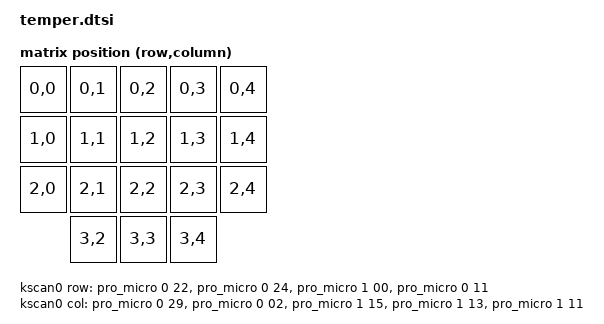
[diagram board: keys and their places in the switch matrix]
/*
 * Custom Split Keyboard (based on Temper)
 * Board: nRF52840 SuperMini (AliExpress, compatible with Nice!Nano v2)
 *
 * SPDX-License-Identifier: MIT
 */

#include <dt-bindings/zmk/matrix_transform.h>

/ {
    chosen {
        zephyr,display = &oled;
        zmk,kscan = &kscan0;
        zmk,matrix_transform = &default_transform;
    };

    // ─────────────────────────────
    // Matrix Transform
    // ─────────────────────────────
    default_transform: keymap_transform_0 {
        compatible = "zmk,matrix-transform";
        rows = <4>;
        columns = <5>;

        // Map layout: row0-3, col0-4
        // Passe die Reihenfolge hier an dein Layout an (z. B. für Split-Left oder Split-Right)
        map = <
            RC(0,0) RC(0,1) RC(0,2) RC(0,3) RC(0,4)
            RC(1,0) RC(1,1) RC(1,2) RC(1,3) RC(1,4)
            RC(2,0) RC(2,1) RC(2,2) RC(2,3) RC(2,4)
                        RC(3,2) RC(3,3) RC(3,4)
        >;
    };

    // ─────────────────────────────
    // Key Scan Matrix (GPIOs)
    // ─────────────────────────────
    kscan0: kscan {
        compatible = "zmk,kscan-gpio-matrix";
        label = "KSCAN";

        // Dein Board ist col2row verdrahtet
        diode-direction = "col2row";

        // Reihen-Pins (row0 → row3)
        // P0.22 = row0, P0.24 = row1, P1.00 = row2, P0.11 = row3
        row-gpios = <
            &pro_micro 0 22 (GPIO_ACTIVE_HIGH | GPIO_PULL_DOWN)
            &pro_micro 0 24 (GPIO_ACTIVE_HIGH | GPIO_PULL_DOWN)
            &pro_micro 1 00 (GPIO_ACTIVE_HIGH | GPIO_PULL_DOWN)
            &pro_micro 0 11 (GPIO_ACTIVE_HIGH | GPIO_PULL_DOWN)
        >;

        // Spalten-Pins (col0 → col4)
        // P0.29 = col0, P0.02 = col1, P1.15 = col2, P1.13 = col3, P1.11 = col4
        col-gpios = <
            &pro_micro 0 29 GPIO_ACTIVE_HIGH
            &pro_micro 0 02 GPIO_ACTIVE_HIGH
            &pro_micro 1 15 GPIO_ACTIVE_HIGH
            &pro_micro 1 13 GPIO_ACTIVE_HIGH
            &pro_micro 1 11 GPIO_ACTIVE_HIGH
        >;
    };

    // ─────────────────────────────
    // OLED Display (falls vorhanden)
    // ─────────────────────────────
    &pro_micro_i2c {
        status = "okay";

        oled: ssd1306@3c {
            compatible = "solomon,ssd1306fb";
            reg = <0x3c>;
            label = "DISPLAY";
            width = <128>;
            height = <32>;
            segment-offset = <0>;
            page-offset = <0>;
            display-offset = <0>;
            multiplex-ratio = <31>;
            segment-remap;
            com-invdir;
            com-sequential;
            prechargep = <0x22>;
        };
    };
};
